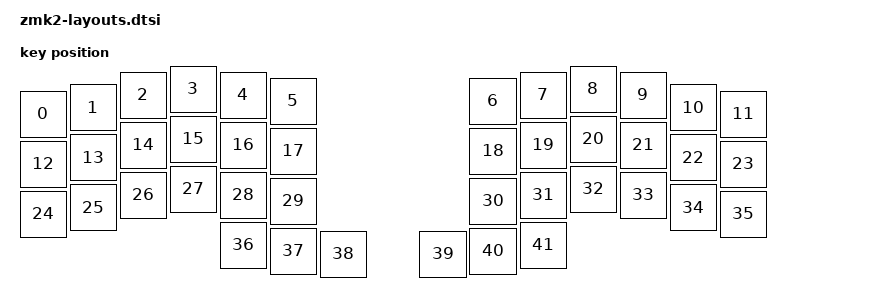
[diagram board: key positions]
#include <physical_layouts.dtsi>

/ {
    physical_layout_zmk2: physical_layout_zmk2 {
        compatible = "zmk,physical-layout";
        display-name = "zmk2";
        keys  //                     w   h    x    y     rot    rx    ry
            = <&key_physical_attrs 100 100    0   50       0     0     0>
            , <&key_physical_attrs 100 100  100   37       0     0     0>
            , <&key_physical_attrs 100 100  200   12       0     0     0>
            , <&key_physical_attrs 100 100  300    0       0     0     0>
            , <&key_physical_attrs 100 100  400   12       0     0     0>
            , <&key_physical_attrs 100 100  500   24       0     0     0>
            , <&key_physical_attrs 100 100  900   24       0     0     0>
            , <&key_physical_attrs 100 100 1000   12       0     0     0>
            , <&key_physical_attrs 100 100 1100    0       0     0     0>
            , <&key_physical_attrs 100 100 1200   12       0     0     0>
            , <&key_physical_attrs 100 100 1300   37       0     0     0>
            , <&key_physical_attrs 100 100 1400   50       0     0     0>
            , <&key_physical_attrs 100 100    0  150       0     0     0>
            , <&key_physical_attrs 100 100  100  137       0     0     0>
            , <&key_physical_attrs 100 100  200  112       0     0     0>
            , <&key_physical_attrs 100 100  300  100       0     0     0>
            , <&key_physical_attrs 100 100  400  112       0     0     0>
            , <&key_physical_attrs 100 100  500  124       0     0     0>
            , <&key_physical_attrs 100 100  900  124       0     0     0>
            , <&key_physical_attrs 100 100 1000  112       0     0     0>
            , <&key_physical_attrs 100 100 1100  100       0     0     0>
            , <&key_physical_attrs 100 100 1200  112       0     0     0>
            , <&key_physical_attrs 100 100 1300  137       0     0     0>
            , <&key_physical_attrs 100 100 1400  150       0     0     0>
            , <&key_physical_attrs 100 100    0  250       0     0     0>
            , <&key_physical_attrs 100 100  100  237       0     0     0>
            , <&key_physical_attrs 100 100  200  212       0     0     0>
            , <&key_physical_attrs 100 100  300  200       0     0     0>
            , <&key_physical_attrs 100 100  400  212       0     0     0>
            , <&key_physical_attrs 100 100  500  224       0     0     0>
            , <&key_physical_attrs 100 100  900  224       0     0     0>
            , <&key_physical_attrs 100 100 1000  212       0     0     0>
            , <&key_physical_attrs 100 100 1100  200       0     0     0>
            , <&key_physical_attrs 100 100 1200  212       0     0     0>
            , <&key_physical_attrs 100 100 1300  237       0     0     0>
            , <&key_physical_attrs 100 100 1400  250       0     0     0>
            , <&key_physical_attrs 100 100  400  312       0     0     0>
            , <&key_physical_attrs 100 100  500  324       0   450   412>
            , <&key_physical_attrs 100 100  600  330       0   548   433>
            , <&key_physical_attrs 100 100  800  330       0   852   433>
            , <&key_physical_attrs 100 100  900  324       0   950   412>
            , <&key_physical_attrs 100 100 1000  312       0     0     0>
            ;
    };
};
